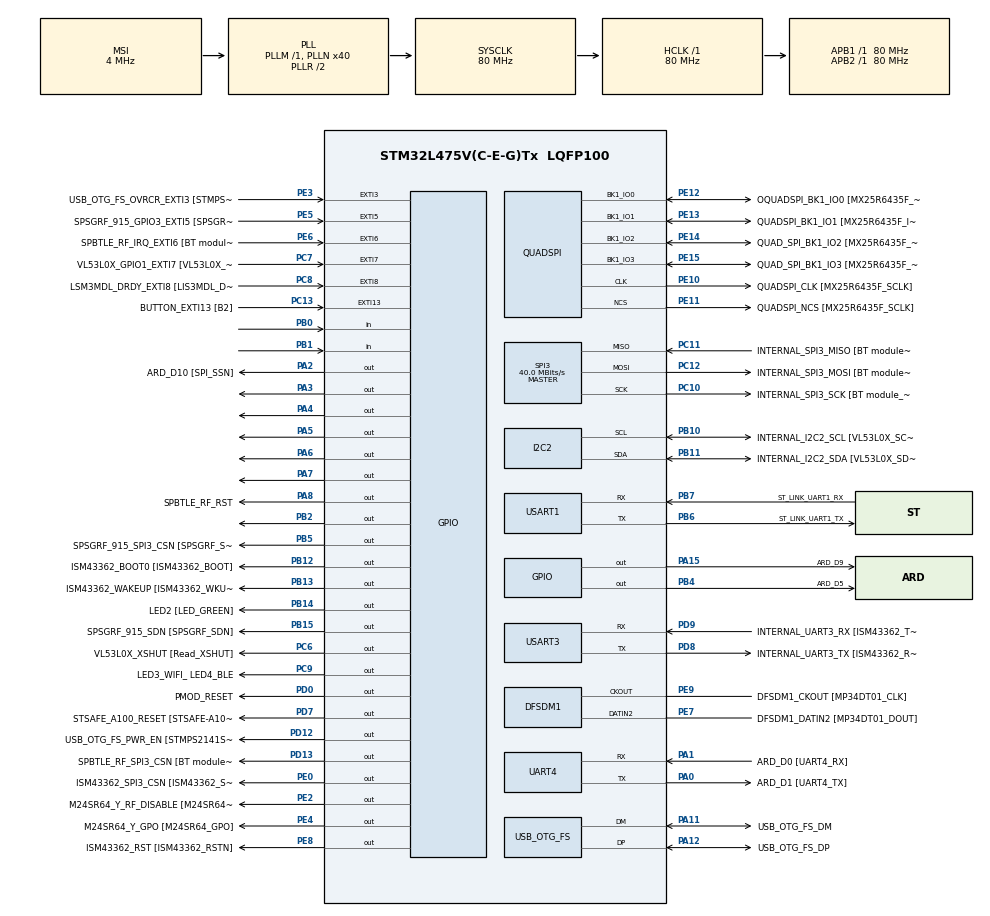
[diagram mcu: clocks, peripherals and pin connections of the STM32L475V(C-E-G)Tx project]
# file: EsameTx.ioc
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PD12.GPIO_Label=USB_OTG_FS_PWR_EN [STMPS2141STR_EN]
SPI3.Direction=SPI_DIRECTION_2LINES
SPI3.VirtualType=VM_MASTER
QUADSPI.ClockPrescaler=2
PB10.Mode=I2C
PC12.Signal=SPI3_MOSI
PB14.GPIO_Label=LED2 [LED_GREEN]
PC6.GPIO_Label=VL53L0X_XSHUT [Read_XSHUT]
PB6.GPIO_Label=ST_LINK_UART1_TX
PA15\ (JTDI).Signal=GPIO_Output
PC15-OSC32_OUT\ (PC15).Mode=LSE-External-Oscillator
PB13.Signal=GPIO_Output
PD6.GPIO_Label=PMOD_UART2_RX
PE6.GPIO_Label=SPBTLE_RF_IRQ_EXTI6 [BT module_SPI_IRQ]
RCC.SYSCLKSource=RCC_SYSCLKSOURCE_PLLCLK
PC14-OSC32_IN\ (PC14).Mode=LSE-External-Oscillator
USART3.VirtualMode-Asynchronous=VM_ASYNC
PA14\ (JTCK-SWCLK).Signal=SYS_JTCK-SWCLK
PD4.Signal=USART2_RTS
RCC.APB2TimFreq_Value=80000000
PB6.Signal=USART1_TX
PC7.Signal=GPXTI7
PB6.Mode=Asynchronous
PC3.Signal=ADCx_IN4
PD0.Signal=GPIO_Output
PD8.Signal=USART3_TX
PE5.Signal=GPXTI5
QUADSPI.FlashSize=23
NVIC.EXTI15_10_IRQn=true\:1\:0\:true\:false\:true\:true\:true
PB2.Signal=GPIO_Output
PD1.GPIO_Label=PMOD_SPI2_SCK
PB12.GPIO_Label=ISM43362_BOOT0 [ISM43362_BOOT]
PC4.GPIO_Label=ARD_A1 [ADC]
PE9.Signal=S_CKOUTDFSDM1
PE4.GPIO_Label=M24SR64_Y_GPO [M24SR64_GPO]
PA0.Mode=Asynchronous
PE2.Signal=GPIO_Output
PA8.Signal=GPIO_Output
PE13.Mode=Single Bank
PE10.Signal=QUADSPI_CLK
PA0.Signal=UART4_TX
Mcu.Package=LQFP100
PB9.Signal=I2C1_SDA
PB1.Signal=GPIO_Input
SPI3.Mode=SPI_MODE_MASTER
SH.ADCx_IN14.0=ADC1_IN14
PD12.Signal=GPIO_Output
PA10.Signal=USB_OTG_FS_ID
PE12.GPIO_Label=OQUADSPI_BK1_IO0 [MX25R6435F_IO0]
PC11.Mode=Full_Duplex_Master
RCC.APB1TimFreq_Value=80000000
PA13\ (JTMS-SWDIO).Signal=SYS_JTMS-SWDIO
PE10.GPIO_Label=QUADSPI_CLK [MX25R6435F_SCLK]
NVIC.UART4_IRQn=true\:2\:0\:true\:false\:true\:true\:true
PE12.Mode=Single Bank
PD9.GPIO_Label=INTERNAL_UART3_RX [ISM43362_TX]
PA9.GPIO_Label=USB_OTG_FS_VBUS [STMPS2141STR_OUT]
PC13.Signal=GPXTI13
PD3.Signal=USART2_CTS
PC6.Signal=GPIO_Output
PE10.Mode=Single Bank
PC2.Signal=ADCx_IN3
PB11.GPIO_Label=INTERNAL_I2C2_SDA [VL53L0X_SDA]
PD7.Signal=GPIO_Output
PD1.Signal=SPI2_SCK
PA11.GPIO_Label=USB_OTG_FS_DM
PC0.Signal=ADCx_IN1
PB8.GPIO_Label=ARD_D15 [I2C1_SCL]
PA8.GPIO_Label=SPBTLE_RF_RST
PB11.Mode=I2C
PE8.GPIO_Label=ISM43362_RST [ISM43362_RSTN]
PA9.Signal=USB_OTG_FS_VBUS
PD8.Mode=Asynchronous
PE9.GPIO_Label=DFSDM1_CKOUT [MP34DT01_CLK]
PB10.Signal=I2C2_SCL
PB14.Signal=GPIO_Output
PA5.Signal=GPIO_Output
PC12.Mode=Full_Duplex_Master
PA1.Mode=Asynchronous
PE14.Signal=QUADSPI_BK1_IO2
PE15.Signal=QUADSPI_BK1_IO3
PB15.GPIO_Label=SPSGRF_915_SDN [SPSGRF_SDN]
PE8.Signal=GPIO_Output
PA1.GPIO_Label=ARD_D0 [UART4_RX]
SH.ADCx_IN4.0=ADC1_IN4
QUADSPI.FifoThreshold=4
PC7.GPIO_Label=VL53L0X_GPIO1_EXTI7 [VL53L0X_GPIO1]
PA13\ (JTMS-SWDIO).Mode=Serial_Wire
PA4.Signal=GPIO_Output
PB5.Signal=GPIO_Output
PE13.GPIO_Label=QUADSPI_BK1_IO1 [MX25R6435F_IO1]
PE5.GPIO_Label=SPSGRF_915_GPIO3_EXTI5 [SPSGRF_GPIO_3]
PC12.GPIO_Label=INTERNAL_SPI3_MOSI [BT module_SPI_MOSI] [ISM43362_MOSI]
PA11.Signal=USB_OTG_FS_DM
ProjectManager.HeapSize=0x200
NVIC.PriorityGroup=NVIC_PRIORITYGROUP_4
PE3.Signal=GPXTI3
PC3.GPIO_Label=ARD_A2 [ADC]
PB4\ (NJTRST).GPIO_Label=ARD_D5
PB0.Signal=GPIO_Input
PC1.Signal=ADCx_IN2
PE15.Mode=Single Bank
Mcu.Family=STM32L4
RCC.CortexFreq_Value=80000000
PE11.GPIO_Label=QUADSPI_NCS [MX25R6435F_SCLK]
SH.ADCx_IN2.0=ADC1_IN2
PC10.Signal=SPI3_SCK
PA0.GPIO_Label=ARD_D1 [UART4_TX]
PC0.GPIO_Label=ARD_A5 [ADC]
PD0.GPIO_Label=PMOD_RESET
PA11.Mode=Device_Only
PC13.GPIO_Label=BUTTON_EXTI13 [B2]
PB13.GPIO_Label=ISM43362_WAKEUP [ISM43362_WKUP]
PB11.Signal=I2C2_SDA
PB15.Signal=GPIO_Output
PD9.Mode=Asynchronous
ProjectManager.StackSize=0x400
PB3\ (JTDO-TRACESWO).Signal=SYS_JTDO-SWO
PD13.Signal=GPIO_Output
PA12.Signal=USB_OTG_FS_DP
PE11.Mode=Single Bank
RCC.HCLKFreq_Value=80000000
SH.ADCx_IN3.0=ADC1_IN3
PB5.PinState=GPIO_PIN_SET
RCC.AHBFreq_Value=80000000
RCC.HSE_VALUE=8000000
PE13.Signal=QUADSPI_BK1_IO1
PC11.GPIO_Label=INTERNAL_SPI3_MISO [BT module_SPI_MISO] [ISM43362_MISO]
PA10.GPIO_Label=USB_OTG_FS_ID
PB7.Signal=USART1_RX
PE4.Signal=GPIO_Output
QUADSPI.SampleShifting=QSPI_SAMPLE_SHIFTING_HALFCYCLE
PD7.GPIO_Label=STSAFE_A100_RESET [STSAFE-A100_RESET]
PB7.GPIO_Label=ST_LINK_UART1_RX
PD13.GPIO_Label=SPBTLE_RF_SPI3_CSN [BT module_SPI_CS]
PA6.Signal=GPIO_Output
PD5.GPIO_Label=PMOD_UART2_TX
PA2.GPIO_Label=ARD_D10 [SPI_SSN]
USB_OTG_FS.VirtualMode=Device_Only
PE0.GPIO_Label=ISM43362_SPI3_CSN [ISM43362_SSN]
SH.ADCx_IN1.0=ADC1_IN1
PB5.GPIO_Label=SPSGRF_915_SPI3_CSN [SPSGRF_SPI_CS]
PC5.Signal=ADCx_IN14
PD3.GPIO_Label=PMOD_UART2_CTS
PE7.Signal=S_DATAIN2DFSDM1
PD6.Signal=USART2_RX
PE2.GPIO_Label=M24SR64_Y_RF_DISABLE [M24SR64_RFDIS]
PC2.GPIO_Label=ARD_A3 [ADC]
RCC.PLLSAI1N=24
PA3.Signal=GPIO_Output
RCC.MSI_VALUE=4000000
PA14\ (JTCK-SWCLK).Mode=Serial_Wire
SH.ADCx_IN13.0=ADC1_IN13
PB9.GPIO_Label=ARD_D14 [I2C1_SDA]
PC10.GPIO_Label=INTERNAL_SPI3_SCK [BT module_SPI_SCLK] [ISM43362_SCK]
PC9.GPIO_Label=LED3_WIFI_ LED4_BLE
PC11.Signal=SPI3_MISO
PC8.Signal=GPXTI8
PC4.Signal=ADCx_IN13
PC10.Mode=Full_Duplex_Master
SH.S_DATAIN2DFSDM1.0=DFSDM1_DATIN2,PDM_SPI_Input_from_ch12_and_Internal_Clock
PE14.GPIO_Label=QUAD_SPI_BK1_IO2 [MX25R6435F_IO2]
PC15-OSC32_OUT\ (PC15).Signal=RCC_OSC32_OUT
PD9.Signal=USART3_RX
PD5.Signal=USART2_TX
PA14\ (JTCK-SWCLK).GPIO_Label=SYS_JTCK_SWCLK
PB3\ (JTDO-TRACESWO).GPIO_Label=SYS_JTD0_SWO
PA12.GPIO_Label=USB_OTG_FS_DP
PD8.GPIO_Label=INTERNAL_UART3_TX [ISM43362_RX]
PC8.GPIO_Label=LSM3MDL_DRDY_EXTI8 [LIS3MDL_DRDY]
USART1.VirtualMode-Asynchronous=VM_ASYNC
PE0.PinState=GPIO_PIN_SET
PE15.GPIO_Label=QUAD_SPI_BK1_IO3 [MX25R6435F_IO3]
ProjectManager.TargetToolchain=STM32CubeIDE
PB10.GPIO_Label=INTERNAL_I2C2_SCL [VL53L0X_SCL]
RCC.USBFreq_Value=48000000
PE11.Signal=QUADSPI_NCS
PA1.Signal=UART4_RX
board=B-L475E-IOT01A2
RCC.VCOOutputFreq_Value=160000000
RCC.APB2Freq_Value=80000000
SPI3.CalculateBaudRate=40.0 MBits/s
PA13\ (JTMS-SWDIO).GPIO_Label=SYS_JTMS_SWDIO
PD4.GPIO_Label=PMOD_UART2_RTS
PE14.Mode=Single Bank
SH.S_CKOUTDFSDM1.0=DFSDM1_CKOUT,CKOUT
SH.S_CKOUTDFSDM1.1=DFSDM1_CKOUT,PDM_SPI_Input_from_ch12_and_Internal_Clock
RCC.ADCFreq_Value=48000000
PC1.GPIO_Label=ARD_A4 [ADC]
PE6.Signal=GPXTI6
PA15\ (JTDI).GPIO_Label=ARD_D9
Mcu.Name=STM32L475V(C-E-G)Tx
PB2.PinState=GPIO_PIN_SET
PE0.Signal=GPIO_Output
PE7.GPIO_Label=DFSDM1_DATIN2 [MP34DT01_DOUT]
PE12.Signal=QUADSPI_BK1_IO0
PA2.Signal=GPIO_Output
RCC.SYSCLKFreq_VALUE=80000000
PA12.Mode=Device_Only
PC13.GPIO_ModeDefaultEXTI=GPIO_MODE_IT_FALLING
PC5.GPIO_Label=ARD_A0 [ADC]
PC14-OSC32_IN\ (PC14).Signal=RCC_OSC32_IN
PB7.Mode=Asynchronous
RCC.HSI_VALUE=16000000
RCC.PLLN=40
PB8.Signal=I2C1_SCL
PE3.GPIO_Label=USB_OTG_FS_OVRCR_EXTI3 [STMPS2141STR_FAULT]
PC9.Signal=GPIO_Output
PD13.PinState=GPIO_PIN_SET
RCC.APB1Freq_Value=80000000
PB12.Signal=GPIO_Output
PA7.Signal=GPIO_Output
PB4\ (NJTRST).Signal=GPIO_Output

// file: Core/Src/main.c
/* USER CODE BEGIN Header */
/**
  ******************************************************************************
  * @file           : main.c
  * @brief          : Main program body
  ******************************************************************************
  * @attention
  *
  * <h2><center>&copy; Copyright (c) 2021 STMicroelectronics.
  * All rights reserved.</center></h2>
  *
  * This software component is licensed by ST under BSD 3-Clause license,
  * the "License"; You may not use this file except in compliance with the
  * License. You may obtain a copy of the License at:
  *                        opensource.org/licenses/BSD-3-Clause
  *
  ******************************************************************************
  */
/* USER CODE END Header */
#include "main.h"

/* USER CODE BEGIN PM */
#define M 10	//Numero messaggi
#define N 10	//Lunghezza in bytes di un messaggio
/* USER CODE END PM */

DFSDM_Channel_HandleTypeDef hdfsdm1_channel1;

I2C_HandleTypeDef hi2c2;

QSPI_HandleTypeDef hqspi;

SPI_HandleTypeDef hspi3;

UART_HandleTypeDef huart4;
UART_HandleTypeDef huart1;
UART_HandleTypeDef huart3;

PCD_HandleTypeDef hpcd_USB_OTG_FS;

void SystemClock_Config(void);
static void MX_GPIO_Init(void);
static void MX_DFSDM1_Init(void);
static void MX_I2C2_Init(void);
static void MX_QUADSPI_Init(void);
static void MX_SPI3_Init(void);
static void MX_USART1_UART_Init(void);
static void MX_USART3_UART_Init(void);
static void MX_USB_OTG_FS_PCD_Init(void);
static void MX_UART4_Init(void);
/* USER CODE BEGIN PFP */
uint8_t data_pia_tx[] = {0x01, 0x02, 0xF2, 0xF3, 0xF4, 0xF5, 0xF6, 0xF7, 0xF8};
uint8_t cont_pia = 0;
uint8_t dato = 0;

uint8_t data_uart_tx[M][N];

uint8_t data_uart_rx = 0x00;
uint8_t cont_uart = 0;
/* USER CODE END PFP */

/* USER CODE BEGIN 0 */

/*funzione utilizzata per inviare dati tramite pia */
void write_pia(uint8_t dato)
{
	HAL_GPIO_WritePin(GPIOB, GPIO_PIN_2, GPIO_PIN_SET); //STROBE
	while(GPIO_PIN_RESET != HAL_GPIO_ReadPin(GPIOB, GPIO_PIN_1)); //POLLING SU BUSY
	HAL_GPIO_WritePin(GPIOA, GPIO_PIN_2, (dato & 1)? GPIO_PIN_SET : GPIO_PIN_RESET);
	HAL_GPIO_WritePin(GPIOA, GPIO_PIN_3, ((dato >> 1) & 1) ? GPIO_PIN_SET : GPIO_PIN_RESET);
	HAL_GPIO_WritePin(GPIOA, GPIO_PIN_4, ((dato >> 2) & 1) ? GPIO_PIN_SET : GPIO_PIN_RESET);
	HAL_GPIO_WritePin(GPIOA, GPIO_PIN_5, ((dato >> 3) & 1) ? GPIO_PIN_SET : GPIO_PIN_RESET);
	HAL_GPIO_WritePin(GPIOA, GPIO_PIN_6, ((dato >> 4) & 1) ? GPIO_PIN_SET : GPIO_PIN_RESET);
	HAL_GPIO_WritePin(GPIOA, GPIO_PIN_7, ((dato >> 5) & 1) ? GPIO_PIN_SET : GPIO_PIN_RESET);
	HAL_GPIO_WritePin(GPIOA, GPIO_PIN_15, ((dato >> 6) & 1) ? GPIO_PIN_SET : GPIO_PIN_RESET);
	HAL_GPIO_WritePin(GPIOB, GPIO_PIN_4, ((dato >> 7) & 1) ? GPIO_PIN_SET : GPIO_PIN_RESET);
	HAL_GPIO_WritePin(GPIOB, GPIO_PIN_2, GPIO_PIN_RESET); //STROBE
	HAL_GPIO_WritePin(GPIOB, GPIO_PIN_2, GPIO_PIN_SET); //STROBE
	while(GPIO_PIN_SET != HAL_GPIO_ReadPin(GPIOB, GPIO_PIN_0)); //POLLING SU ACK
}

/*ISR legata alla pressione del PUSHBUTTON */
void HAL_GPIO_EXTI_Callback(uint16_t GPIO_Pin)
{
	dato = data_pia_tx[cont_pia];
	write_pia(dato);
	cont_pia = (cont_pia + 1)%9;
}

/*ISR scatenata dalla avvenuta trasmissione del messaggio sulla periferica UART. In questo caso la periferica si mette in attesa del messaggio di conferma */
void HAL_UART_TxCpltCallback(UART_HandleTypeDef *huart)
{
	HAL_UART_Receive_IT(huart, &data_uart_rx, sizeof(uint8_t));
}

/*ISR scatenata dalla ricezione del messaggio di conferma. Viene inviato il nuovo messaggio */
void HAL_UART_RxCpltCallback(UART_HandleTypeDef *huart)
{
	if(data_uart_rx == 0xFF){
		cont_uart++;
		HAL_UART_Transmit_IT(huart, data_uart_tx[cont_uart], N*sizeof(uint8_t));
	}
}
/* USER CODE END 0 */

int main(void)
{

  /* MCU Configuration--------------------------------------------------------*/

  /* Reset of all peripherals, Initializes the Flash interface and the Systick. */
  HAL_Init();

  /* Configure the system clock */
  SystemClock_Config();

  /* Initialize all configured peripherals */
  MX_GPIO_Init();
  MX_DFSDM1_Init();
  MX_I2C2_Init();
  MX_QUADSPI_Init();
  MX_SPI3_Init();
  MX_USART1_UART_Init();
  MX_USART3_UART_Init();
  MX_USB_OTG_FS_PCD_Init();
  MX_UART4_Init();
  /* USER CODE BEGIN 2 */
  //scrittura_pia(0x07);
  for(uint8_t i = 0; i<M; i++){

	  if(i != 5){
		  for(uint8_t j = 0; j<N; j++){
			  data_uart_tx[i][j] = 255-j;
		  }
	  }else{
		  for(uint8_t j = 0; j<N; j++){
			  data_uart_tx[i][j] = 0x00;
		  }
	  }
  }

  HAL_GPIO_WritePin(GPIOB, GPIO_PIN_2, GPIO_PIN_SET);
  HAL_UART_Transmit_IT(&huart4, data_uart_tx[cont_uart], N*sizeof(uint8_t));
  /* USER CODE END 2 */

  /* Infinite loop */
  while (1)
  {

  }
}

void SystemClock_Config(void)
{
  RCC_OscInitTypeDef RCC_OscInitStruct = {0};
  RCC_ClkInitTypeDef RCC_ClkInitStruct = {0};
  RCC_PeriphCLKInitTypeDef PeriphClkInit = {0};

  /** Configure LSE Drive Capability
  */
  HAL_PWR_EnableBkUpAccess();
  __HAL_RCC_LSEDRIVE_CONFIG(RCC_LSEDRIVE_LOW);
  /** Initializes the RCC Oscillators according to the specified parameters
  * in the RCC_OscInitTypeDef structure.
  */
  RCC_OscInitStruct.OscillatorType = RCC_OSCILLATORTYPE_LSE|RCC_OSCILLATORTYPE_MSI;
  RCC_OscInitStruct.LSEState = RCC_LSE_ON;
  RCC_OscInitStruct.MSIState = RCC_MSI_ON;
  RCC_OscInitStruct.MSICalibrationValue = 0;
  RCC_OscInitStruct.MSIClockRange = RCC_MSIRANGE_6;
  RCC_OscInitStruct.PLL.PLLState = RCC_PLL_ON;
  RCC_OscInitStruct.PLL.PLLSource = RCC_PLLSOURCE_MSI;
  RCC_OscInitStruct.PLL.PLLM = 1;
  RCC_OscInitStruct.PLL.PLLN = 40;
  RCC_OscInitStruct.PLL.PLLP = RCC_PLLP_DIV7;
  RCC_OscInitStruct.PLL.PLLQ = RCC_PLLQ_DIV2;
  RCC_OscInitStruct.PLL.PLLR = RCC_PLLR_DIV2;
  if (HAL_RCC_OscConfig(&RCC_OscInitStruct) != HAL_OK)
  {
    Error_Handler();
  }
  /** Initializes the CPU, AHB and APB buses clocks
  */
  RCC_ClkInitStruct.ClockType = RCC_CLOCKTYPE_HCLK|RCC_CLOCKTYPE_SYSCLK
                              |RCC_CLOCKTYPE_PCLK1|RCC_CLOCKTYPE_PCLK2;
  RCC_ClkInitStruct.SYSCLKSource = RCC_SYSCLKSOURCE_PLLCLK;
  RCC_ClkInitStruct.AHBCLKDivider = RCC_SYSCLK_DIV1;
  RCC_ClkInitStruct.APB1CLKDivider = RCC_HCLK_DIV1;
  RCC_ClkInitStruct.APB2CLKDivider = RCC_HCLK_DIV1;

  if (HAL_RCC_ClockConfig(&RCC_ClkInitStruct, FLASH_LATENCY_4) != HAL_OK)
  {
    Error_Handler();
  }
  PeriphClkInit.PeriphClockSelection = RCC_PERIPHCLK_USART1|RCC_PERIPHCLK_USART3
                              |RCC_PERIPHCLK_UART4|RCC_PERIPHCLK_I2C2
                              |RCC_PERIPHCLK_DFSDM1|RCC_PERIPHCLK_USB;
  PeriphClkInit.Usart1ClockSelection = RCC_USART1CLKSOURCE_PCLK2;
  PeriphClkInit.Usart3ClockSelection = RCC_USART3CLKSOURCE_PCLK1;
  PeriphClkInit.Uart4ClockSelection = RCC_UART4CLKSOURCE_PCLK1;
  PeriphClkInit.I2c2ClockSelection = RCC_I2C2CLKSOURCE_PCLK1;
  PeriphClkInit.Dfsdm1ClockSelection = RCC_DFSDM1CLKSOURCE_PCLK;
  PeriphClkInit.UsbClockSelection = RCC_USBCLKSOURCE_PLLSAI1;
  PeriphClkInit.PLLSAI1.PLLSAI1Source = RCC_PLLSOURCE_MSI;
  PeriphClkInit.PLLSAI1.PLLSAI1M = 1;
  PeriphClkInit.PLLSAI1.PLLSAI1N = 24;
  PeriphClkInit.PLLSAI1.PLLSAI1P = RCC_PLLP_DIV7;
  PeriphClkInit.PLLSAI1.PLLSAI1Q = RCC_PLLQ_DIV2;
  PeriphClkInit.PLLSAI1.PLLSAI1R = RCC_PLLR_DIV2;
  PeriphClkInit.PLLSAI1.PLLSAI1ClockOut = RCC_PLLSAI1_48M2CLK;
  if (HAL_RCCEx_PeriphCLKConfig(&PeriphClkInit) != HAL_OK)
  {
    Error_Handler();
  }
  /** Configure the main internal regulator output voltage
  */
  if (HAL_PWREx_ControlVoltageScaling(PWR_REGULATOR_VOLTAGE_SCALE1) != HAL_OK)
  {
    Error_Handler();
  }
  /** Enable MSI Auto calibration
  */
  HAL_RCCEx_EnableMSIPLLMode();
}

static void MX_DFSDM1_Init(void)
{

  hdfsdm1_channel1.Instance = DFSDM1_Channel1;
  hdfsdm1_channel1.Init.OutputClock.Activation = ENABLE;
  hdfsdm1_channel1.Init.OutputClock.Selection = DFSDM_CHANNEL_OUTPUT_CLOCK_SYSTEM;
  hdfsdm1_channel1.Init.OutputClock.Divider = 2;
  hdfsdm1_channel1.Init.Input.Multiplexer = DFSDM_CHANNEL_EXTERNAL_INPUTS;
  hdfsdm1_channel1.Init.Input.DataPacking = DFSDM_CHANNEL_STANDARD_MODE;
  hdfsdm1_channel1.Init.Input.Pins = DFSDM_CHANNEL_FOLLOWING_CHANNEL_PINS;
  hdfsdm1_channel1.Init.SerialInterface.Type = DFSDM_CHANNEL_SPI_RISING;
  hdfsdm1_channel1.Init.SerialInterface.SpiClock = DFSDM_CHANNEL_SPI_CLOCK_INTERNAL;
  hdfsdm1_channel1.Init.Awd.FilterOrder = DFSDM_CHANNEL_FASTSINC_ORDER;
  hdfsdm1_channel1.Init.Awd.Oversampling = 1;
  hdfsdm1_channel1.Init.Offset = 0;
  hdfsdm1_channel1.Init.RightBitShift = 0x00;
  if (HAL_DFSDM_ChannelInit(&hdfsdm1_channel1) != HAL_OK)
  {
    Error_Handler();
  }

}

static void MX_I2C2_Init(void)
{

  hi2c2.Instance = I2C2;
  hi2c2.Init.Timing = 0x00000E14;
  hi2c2.Init.OwnAddress1 = 0;
  hi2c2.Init.AddressingMode = I2C_ADDRESSINGMODE_7BIT;
  hi2c2.Init.DualAddressMode = I2C_DUALADDRESS_DISABLE;
  hi2c2.Init.OwnAddress2 = 0;
  hi2c2.Init.OwnAddress2Masks = I2C_OA2_NOMASK;
  hi2c2.Init.GeneralCallMode = I2C_GENERALCALL_DISABLE;
  hi2c2.Init.NoStretchMode = I2C_NOSTRETCH_DISABLE;
  if (HAL_I2C_Init(&hi2c2) != HAL_OK)
  {
    Error_Handler();
  }
  /** Configure Analogue filter
  */
  if (HAL_I2CEx_ConfigAnalogFilter(&hi2c2, I2C_ANALOGFILTER_ENABLE) != HAL_OK)
  {
    Error_Handler();
  }
  /** Configure Digital filter
  */
  if (HAL_I2CEx_ConfigDigitalFilter(&hi2c2, 0) != HAL_OK)
  {
    Error_Handler();
  }

}

static void MX_QUADSPI_Init(void)
{

  /* QUADSPI parameter configuration*/
  hqspi.Instance = QUADSPI;
  hqspi.Init.ClockPrescaler = 2;
  hqspi.Init.FifoThreshold = 4;
  hqspi.Init.SampleShifting = QSPI_SAMPLE_SHIFTING_HALFCYCLE;
  hqspi.Init.FlashSize = 23;
  hqspi.Init.ChipSelectHighTime = QSPI_CS_HIGH_TIME_1_CYCLE;
  hqspi.Init.ClockMode = QSPI_CLOCK_MODE_0;
  if (HAL_QSPI_Init(&hqspi) != HAL_OK)
  {
    Error_Handler();
  }

}

static void MX_SPI3_Init(void)
{

  /* SPI3 parameter configuration*/
  hspi3.Instance = SPI3;
  hspi3.Init.Mode = SPI_MODE_MASTER;
  hspi3.Init.Direction = SPI_DIRECTION_2LINES;
  hspi3.Init.DataSize = SPI_DATASIZE_4BIT;
  hspi3.Init.CLKPolarity = SPI_POLARITY_LOW;
  hspi3.Init.CLKPhase = SPI_PHASE_1EDGE;
  hspi3.Init.NSS = SPI_NSS_SOFT;
  hspi3.Init.BaudRatePrescaler = SPI_BAUDRATEPRESCALER_2;
  hspi3.Init.FirstBit = SPI_FIRSTBIT_MSB;
  hspi3.Init.TIMode = SPI_TIMODE_DISABLE;
  hspi3.Init.CRCCalculation = SPI_CRCCALCULATION_DISABLE;
  hspi3.Init.CRCPolynomial = 7;
  hspi3.Init.CRCLength = SPI_CRC_LENGTH_DATASIZE;
  hspi3.Init.NSSPMode = SPI_NSS_PULSE_ENABLE;
  if (HAL_SPI_Init(&hspi3) != HAL_OK)
  {
    Error_Handler();
  }

}

static void MX_UART4_Init(void)
{

  huart4.Instance = UART4;
  huart4.Init.BaudRate = 115200;
  huart4.Init.WordLength = UART_WORDLENGTH_8B;
  huart4.Init.StopBits = UART_STOPBITS_1;
  huart4.Init.Parity = UART_PARITY_NONE;
  huart4.Init.Mode = UART_MODE_TX_RX;
  huart4.Init.HwFlowCtl = UART_HWCONTROL_NONE;
  huart4.Init.OverSampling = UART_OVERSAMPLING_16;
  huart4.Init.OneBitSampling = UART_ONE_BIT_SAMPLE_DISABLE;
  huart4.AdvancedInit.AdvFeatureInit = UART_ADVFEATURE_NO_INIT;
  if (HAL_UART_Init(&huart4) != HAL_OK)
  {
    Error_Handler();
  }

}

static void MX_USART1_UART_Init(void)
{

  huart1.Instance = USART1;
  huart1.Init.BaudRate = 115200;
  huart1.Init.WordLength = UART_WORDLENGTH_8B;
  huart1.Init.StopBits = UART_STOPBITS_1;
  huart1.Init.Parity = UART_PARITY_NONE;
  huart1.Init.Mode = UART_MODE_TX_RX;
  huart1.Init.HwFlowCtl = UART_HWCONTROL_NONE;
  huart1.Init.OverSampling = UART_OVERSAMPLING_16;
  huart1.Init.OneBitSampling = UART_ONE_BIT_SAMPLE_DISABLE;
  huart1.AdvancedInit.AdvFeatureInit = UART_ADVFEATURE_NO_INIT;
  if (HAL_UART_Init(&huart1) != HAL_OK)
  {
    Error_Handler();
  }

}

static void MX_USART3_UART_Init(void)
{

  huart3.Instance = USART3;
  huart3.Init.BaudRate = 115200;
  huart3.Init.WordLength = UART_WORDLENGTH_8B;
  huart3.Init.StopBits = UART_STOPBITS_1;
  huart3.Init.Parity = UART_PARITY_NONE;
  huart3.Init.Mode = UART_MODE_TX_RX;
  huart3.Init.HwFlowCtl = UART_HWCONTROL_NONE;
  huart3.Init.OverSampling = UART_OVERSAMPLING_16;
  huart3.Init.OneBitSampling = UART_ONE_BIT_SAMPLE_DISABLE;
  huart3.AdvancedInit.AdvFeatureInit = UART_ADVFEATURE_NO_INIT;
  if (HAL_UART_Init(&huart3) != HAL_OK)
  {
    Error_Handler();
  }

}

static void MX_USB_OTG_FS_PCD_Init(void)
{

  hpcd_USB_OTG_FS.Instance = USB_OTG_FS;
  hpcd_USB_OTG_FS.Init.dev_endpoints = 6;
  hpcd_USB_OTG_FS.Init.speed = PCD_SPEED_FULL;
  hpcd_USB_OTG_FS.Init.phy_itface = PCD_PHY_EMBEDDED;
  hpcd_USB_OTG_FS.Init.Sof_enable = DISABLE;
  hpcd_USB_OTG_FS.Init.low_power_enable = DISABLE;
  hpcd_USB_OTG_FS.Init.lpm_enable = DISABLE;
  hpcd_USB_OTG_FS.Init.battery_charging_enable = DISABLE;
  hpcd_USB_OTG_FS.Init.use_dedicated_ep1 = DISABLE;
  hpcd_USB_OTG_FS.Init.vbus_sensing_enable = DISABLE;
  if (HAL_PCD_Init(&hpcd_USB_OTG_FS) != HAL_OK)
  {
    Error_Handler();
  }

}

static void MX_GPIO_Init(void)
{
  GPIO_InitTypeDef GPIO_InitStruct = {0};

  /* GPIO Ports Clock Enable */
  __HAL_RCC_GPIOE_CLK_ENABLE();
  __HAL_RCC_GPIOC_CLK_ENABLE();
  __HAL_RCC_GPIOA_CLK_ENABLE();
  __HAL_RCC_GPIOB_CLK_ENABLE();
  __HAL_RCC_GPIOD_CLK_ENABLE();

  /*Configure GPIO pin Output Level */
  HAL_GPIO_WritePin(GPIOE, M24SR64_Y_RF_DISABLE_Pin|M24SR64_Y_GPO_Pin|ISM43362_RST_Pin, GPIO_PIN_RESET);

  /*Configure GPIO pin Output Level */
  HAL_GPIO_WritePin(GPIOA, ARD_D10_Pin|GPIO_PIN_3|GPIO_PIN_4|GPIO_PIN_5
                          |GPIO_PIN_6|GPIO_PIN_7|SPBTLE_RF_RST_Pin|ARD_D9_Pin, GPIO_PIN_RESET);

  /*Configure GPIO pin Output Level */
  HAL_GPIO_WritePin(GPIOB, GPIO_PIN_2|SPSGRF_915_SPI3_CSN_Pin, GPIO_PIN_SET);

  /*Configure GPIO pin Output Level */
  HAL_GPIO_WritePin(GPIOB, ISM43362_BOOT0_Pin|ISM43362_WAKEUP_Pin|LED2_Pin|SPSGRF_915_SDN_Pin
                          |ARD_D5_Pin, GPIO_PIN_RESET);

  /*Configure GPIO pin Output Level */
  HAL_GPIO_WritePin(GPIOD, USB_OTG_FS_PWR_EN_Pin|PMOD_RESET_Pin|STSAFE_A100_RESET_Pin, GPIO_PIN_RESET);

  /*Configure GPIO pin Output Level */
  HAL_GPIO_WritePin(SPBTLE_RF_SPI3_CSN_GPIO_Port, SPBTLE_RF_SPI3_CSN_Pin, GPIO_PIN_SET);

  /*Configure GPIO pin Output Level */
  HAL_GPIO_WritePin(GPIOC, VL53L0X_XSHUT_Pin|LED3_WIFI__LED4_BLE_Pin, GPIO_PIN_RESET);

  /*Configure GPIO pin Output Level */
  HAL_GPIO_WritePin(ISM43362_SPI3_CSN_GPIO_Port, ISM43362_SPI3_CSN_Pin, GPIO_PIN_SET);

  /*Configure GPIO pins : M24SR64_Y_RF_DISABLE_Pin M24SR64_Y_GPO_Pin ISM43362_RST_Pin ISM43362_SPI3_CSN_Pin */
  GPIO_InitStruct.Pin = M24SR64_Y_RF_DISABLE_Pin|M24SR64_Y_GPO_Pin|ISM43362_RST_Pin|ISM43362_SPI3_CSN_Pin;
  GPIO_InitStruct.Mode = GPIO_MODE_OUTPUT_PP;
  GPIO_InitStruct.Pull = GPIO_NOPULL;
  GPIO_InitStruct.Speed = GPIO_SPEED_FREQ_LOW;
  HAL_GPIO_Init(GPIOE, &GPIO_InitStruct);

  /*Configure GPIO pins : USB_OTG_FS_OVRCR_EXTI3_Pin SPSGRF_915_GPIO3_EXTI5_Pin SPBTLE_RF_IRQ_EXTI6_Pin */
  GPIO_InitStruct.Pin = USB_OTG_FS_OVRCR_EXTI3_Pin|SPSGRF_915_GPIO3_EXTI5_Pin|SPBTLE_RF_IRQ_EXTI6_Pin;
  GPIO_InitStruct.Mode = GPIO_MODE_IT_RISING;
  GPIO_InitStruct.Pull = GPIO_NOPULL;
  HAL_GPIO_Init(GPIOE, &GPIO_InitStruct);

  /*Configure GPIO pin : BUTTON_EXTI13_Pin */
  GPIO_InitStruct.Pin = BUTTON_EXTI13_Pin;
  GPIO_InitStruct.Mode = GPIO_MODE_IT_FALLING;
  GPIO_InitStruct.Pull = GPIO_NOPULL;
  HAL_GPIO_Init(BUTTON_EXTI13_GPIO_Port, &GPIO_InitStruct);

  /*Configure GPIO pins : ARD_A5_Pin ARD_A4_Pin ARD_A3_Pin ARD_A2_Pin
                           ARD_A1_Pin ARD_A0_Pin */
  GPIO_InitStruct.Pin = ARD_A5_Pin|ARD_A4_Pin|ARD_A3_Pin|ARD_A2_Pin
                          |ARD_A1_Pin|ARD_A0_Pin;
  GPIO_InitStruct.Mode = GPIO_MODE_ANALOG_ADC_CONTROL;
  GPIO_InitStruct.Pull = GPIO_NOPULL;
  HAL_GPIO_Init(GPIOC, &GPIO_InitStruct);

  /*Configure GPIO pins : ARD_D10_Pin PA3 PA4 PA5
                           PA6 PA7 SPBTLE_RF_RST_Pin ARD_D9_Pin */
  GPIO_InitStruct.Pin = ARD_D10_Pin|GPIO_PIN_3|GPIO_PIN_4|GPIO_PIN_5
                          |GPIO_PIN_6|GPIO_PIN_7|SPBTLE_RF_RST_Pin|ARD_D9_Pin;
  GPIO_InitStruct.Mode = GPIO_MODE_OUTPUT_PP;
  GPIO_InitStruct.Pull = GPIO_NOPULL;
  GPIO_InitStruct.Speed = GPIO_SPEED_FREQ_LOW;
  HAL_GPIO_Init(GPIOA, &GPIO_InitStruct);

  /*Configure GPIO pins : PB0 PB1 */
  GPIO_InitStruct.Pin = GPIO_PIN_0|GPIO_PIN_1;
  GPIO_InitStruct.Mode = GPIO_MODE_INPUT;
  GPIO_InitStruct.Pull = GPIO_NOPULL;
  HAL_GPIO_Init(GPIOB, &GPIO_InitStruct);

  /*Configure GPIO pins : PB2 ISM43362_BOOT0_Pin ISM43362_WAKEUP_Pin LED2_Pin
                           SPSGRF_915_SDN_Pin ARD_D5_Pin SPSGRF_915_SPI3_CSN_Pin */
  GPIO_InitStruct.Pin = GPIO_PIN_2|ISM43362_BOOT0_Pin|ISM43362_WAKEUP_Pin|LED2_Pin
                          |SPSGRF_915_SDN_Pin|ARD_D5_Pin|SPSGRF_915_SPI3_CSN_Pin;
  GPIO_InitStruct.Mode = GPIO_MODE_OUTPUT_PP;
  GPIO_InitStruct.Pull = GPIO_NOPULL;
  GPIO_InitStruct.Speed = GPIO_SPEED_FREQ_LOW;
  HAL_GPIO_Init(GPIOB, &GPIO_InitStruct);

  /*Configure GPIO pins : USB_OTG_FS_PWR_EN_Pin SPBTLE_RF_SPI3_CSN_Pin PMOD_RESET_Pin STSAFE_A100_RESET_Pin */
  GPIO_InitStruct.Pin = USB_OTG_FS_PWR_EN_Pin|SPBTLE_RF_SPI3_CSN_Pin|PMOD_RESET_Pin|STSAFE_A100_RESET_Pin;
  GPIO_InitStruct.Mode = GPIO_MODE_OUTPUT_PP;
  GPIO_InitStruct.Pull = GPIO_NOPULL;
  GPIO_InitStruct.Speed = GPIO_SPEED_FREQ_LOW;
  HAL_GPIO_Init(GPIOD, &GPIO_InitStruct);

  /*Configure GPIO pins : VL53L0X_XSHUT_Pin LED3_WIFI__LED4_BLE_Pin */
  GPIO_InitStruct.Pin = VL53L0X_XSHUT_Pin|LED3_WIFI__LED4_BLE_Pin;
  GPIO_InitStruct.Mode = GPIO_MODE_OUTPUT_PP;
  GPIO_InitStruct.Pull = GPIO_NOPULL;
  GPIO_InitStruct.Speed = GPIO_SPEED_FREQ_LOW;
  HAL_GPIO_Init(GPIOC, &GPIO_InitStruct);

  /*Configure GPIO pins : VL53L0X_GPIO1_EXTI7_Pin LSM3MDL_DRDY_EXTI8_Pin */
  GPIO_InitStruct.Pin = VL53L0X_GPIO1_EXTI7_Pin|LSM3MDL_DRDY_EXTI8_Pin;
  GPIO_InitStruct.Mode = GPIO_MODE_IT_RISING;
  GPIO_InitStruct.Pull = GPIO_NOPULL;
  HAL_GPIO_Init(GPIOC, &GPIO_InitStruct);

  /*Configure GPIO pin : PMOD_SPI2_SCK_Pin */
  GPIO_InitStruct.Pin = PMOD_SPI2_SCK_Pin;
  GPIO_InitStruct.Mode = GPIO_MODE_AF_PP;
  GPIO_InitStruct.Pull = GPIO_NOPULL;
  GPIO_InitStruct.Speed = GPIO_SPEED_FREQ_VERY_HIGH;
  GPIO_InitStruct.Alternate = GPIO_AF5_SPI2;
  HAL_GPIO_Init(PMOD_SPI2_SCK_GPIO_Port, &GPIO_InitStruct);

  /*Configure GPIO pins : PMOD_UART2_CTS_Pin PMOD_UART2_RTS_Pin PMOD_UART2_TX_Pin PMOD_UART2_RX_Pin */
  GPIO_InitStruct.Pin = PMOD_UART2_CTS_Pin|PMOD_UART2_RTS_Pin|PMOD_UART2_TX_Pin|PMOD_UART2_RX_Pin;
  GPIO_InitStruct.Mode = GPIO_MODE_AF_PP;
  GPIO_InitStruct.Pull = GPIO_NOPULL;
  GPIO_InitStruct.Speed = GPIO_SPEED_FREQ_VERY_HIGH;
  GPIO_InitStruct.Alternate = GPIO_AF7_USART2;
  HAL_GPIO_Init(GPIOD, &GPIO_InitStruct);

  /*Configure GPIO pins : ARD_D15_Pin ARD_D14_Pin */
  GPIO_InitStruct.Pin = ARD_D15_Pin|ARD_D14_Pin;
  GPIO_InitStruct.Mode = GPIO_MODE_AF_OD;
  GPIO_InitStruct.Pull = GPIO_PULLUP;
  GPIO_InitStruct.Speed = GPIO_SPEED_FREQ_VERY_HIGH;
  GPIO_InitStruct.Alternate = GPIO_AF4_I2C1;
  HAL_GPIO_Init(GPIOB, &GPIO_InitStruct);

  /* EXTI interrupt init*/
  HAL_NVIC_SetPriority(EXTI15_10_IRQn, 1, 0);
  HAL_NVIC_EnableIRQ(EXTI15_10_IRQn);

}

void Error_Handler(void)
{
  __disable_irq();
  while (1)
  {
  }
}

/************************ (C) COPYRIGHT STMicroelectronics *****END OF FILE****/
